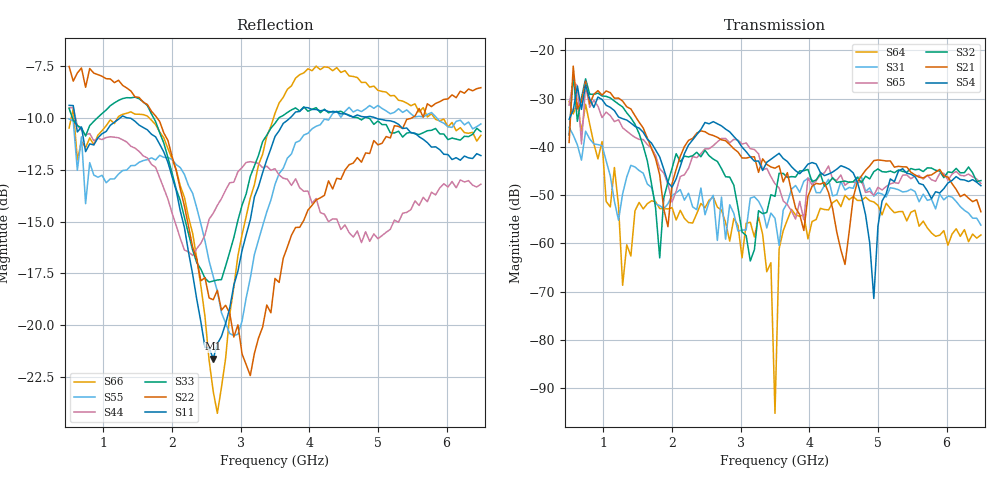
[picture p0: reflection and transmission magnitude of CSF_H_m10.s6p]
!Keysight Technologies,M9804A,MY58100912,A.14.10.03
!Date: Thursday, April 27, 2023 10:28:33
!Correction: S11(C  6-Port  )
!S12(C  6-Port  )
!S13(C  6-Port  )
!S14(C  6-Port  )
!S15(C  6-Port  )
!S16(C  6-Port  )
!S21(C  6-Port  )
!S22(C  6-Port  )
!S23(C  6-Port  )
!S24(C  6-Port  )
!S25(C  6-Port  )
!S26(C  6-Port  )
!S31(C  6-Port  )
!S32(C  6-Port  )
!S33(C  6-Port  )
!S34(C  6-Port  )
!S35(C  6-Port  )
!S36(C  6-Port  )
!S41(C  6-Port  )
!S42(C  6-Port  )
!S43(C  6-Port  )
!S44(C  6-Port  )
!S45(C  6-Port  )
!S46(C  6-Port  )
!S51(C  6-Port  )
!S52(C  6-Port  )
!S53(C  6-Port  )
!S54(C  6-Port  )
!S55(C  6-Port  )
!S56(C  6-Port  )
!S61(C  6-Port  )
!S62(C  6-Port  )
!S63(C  6-Port  )
!S64(C  6-Port  )
!S65(C  6-Port  )
!S66(C  6-Port  )
!S6P File: Measurement: :
# Hz S  RI  R 50
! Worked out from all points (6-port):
!   101 points, 500 MHz to 6.5 GHz, reference 50 ohm
!   strongest paths, dB at 500 MHz, 2 GHz, 3.5 GHz, 5 GHz, 6.5 GHz:
!     S54: -34.3, -48.3, -41.9, -56.4, -48.0
!     S21: -39.1, -47.6, -44.4, -42.7, -53.4
!     S32: -37.5, -44.4, -50.2, -44.6, -47.0
!     S65: -31.3, -51.4, -47.7, -48.4, -47.6
!     S31: -35.9, -50.1, -54.8, -49.5, -56.2
!     S64: -30.6, -52.6, -95.2, -52.1, -58.2
!   lowest |S11| = -21.6 dB at 2.6 GHz (marker M1), VSWR 1.18, Z = 42.6 + j2 ohm
!   |S11| at or under -10 dB: 588.5 MHz to 1.24 GHz (651 MHz wide, 71.2 % of centre); 1.381 GHz to 3.716 GHz (2.335 GHz wide, 91.6 % of centre); 4.971 GHz to end of sweep
